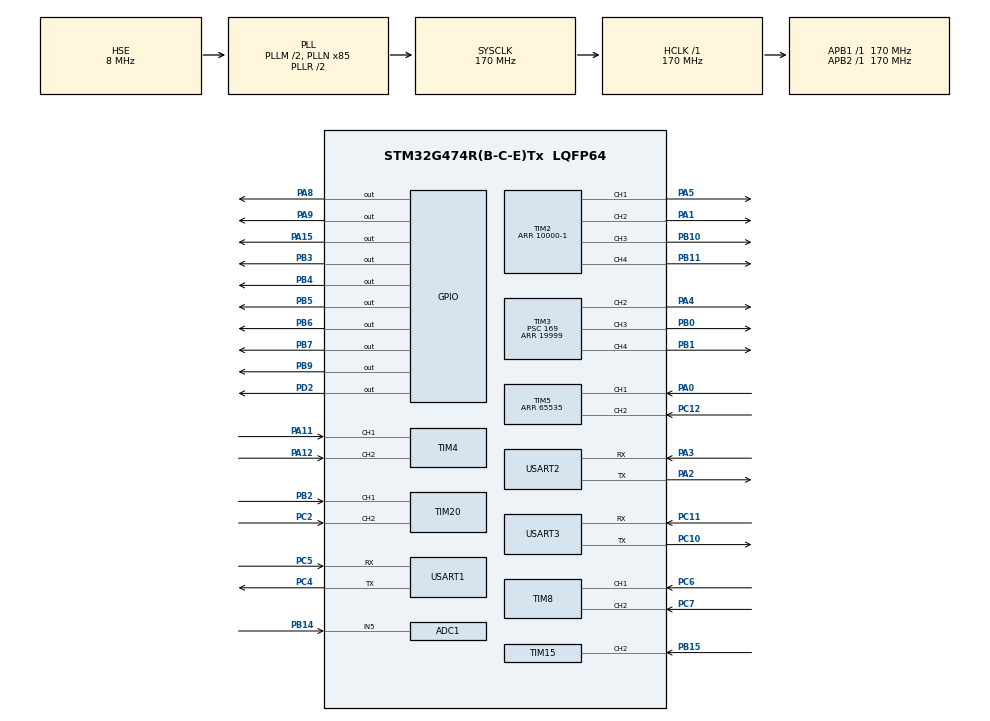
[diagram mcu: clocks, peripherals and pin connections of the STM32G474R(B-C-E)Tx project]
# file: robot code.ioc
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ADC1.Channel-0\#ChannelRegularConversion=ADC_CHANNEL_5
ADC1.NbrOfConversionFlag=1
ADC1.OffsetNumber-0\#ChannelRegularConversion=ADC_OFFSET_NONE
ADC1.Rank-0\#ChannelRegularConversion=1
ADC1.SamplingTime-0\#ChannelRegularConversion=ADC_SAMPLETIME_2CYCLES_5
ADC1.master=1
Mcu.Family=STM32G4
Mcu.Name=STM32G474R(B-C-E)Tx
Mcu.Package=LQFP64
NVIC.ADC1_2_IRQn=true\:4\:0\:true\:false\:true\:true\:true\:true
NVIC.PriorityGroup=NVIC_PRIORITYGROUP_4
NVIC.TIM1_BRK_TIM15_IRQn=true\:0\:0\:false\:false\:true\:true\:true\:true
NVIC.TIM1_UP_TIM16_IRQn=true\:1\:0\:true\:false\:true\:true\:true\:true
NVIC.USART1_IRQn=true\:2\:0\:true\:false\:true\:true\:true\:true
NVIC.USART2_IRQn=true\:3\:0\:true\:false\:true\:true\:true\:true
NVIC.USART3_IRQn=true\:2\:0\:true\:false\:true\:true\:true\:true
PA0.Signal=S_TIM5_CH1
PA1.Signal=S_TIM2_CH2
PA11.Signal=S_TIM4_CH1
PA12.Signal=S_TIM4_CH2
PA13.Mode=Serial_Wire
PA13.Signal=SYS_JTMS-SWDIO
PA14.Mode=Serial_Wire
PA14.Signal=SYS_JTCK-SWCLK
PA15.Signal=GPIO_Output
PA2.Mode=Asynchronous
PA2.Signal=USART2_TX
PA3.Mode=Asynchronous
PA3.Signal=USART2_RX
PA4.Signal=S_TIM3_CH2
PA5.Signal=S_TIM2_CH1
PA8.GPIO_ModeDefaultOutputPP=GPIO_MODE_OUTPUT_OD
PA8.GPIO_PuPd=GPIO_NOPULL
PA8.PinState=GPIO_PIN_SET
PA8.Signal=GPIO_Output
PA9.GPIO_ModeDefaultOutputPP=GPIO_MODE_OUTPUT_OD
PA9.GPIO_PuPd=GPIO_NOPULL
PA9.PinState=GPIO_PIN_SET
PA9.Signal=GPIO_Output
PB0.Signal=S_TIM3_CH3
PB1.Signal=S_TIM3_CH4
PB10.Signal=S_TIM2_CH3
PB11.Signal=S_TIM2_CH4
PB14.Mode=IN5-Single-Ended
PB14.Signal=ADC1_IN5
PB15.Signal=S_TIM15_CH2
PB2.Signal=S_TIM20_CH1
PB3.Signal=GPIO_Output
PB4.Signal=GPIO_Output
PB5.Signal=GPIO_Output
PB6.Signal=GPIO_Output
PB7.Signal=GPIO_Output
PB9.Signal=GPIO_Output
PC10.Mode=Asynchronous
PC10.Signal=USART3_TX
PC11.Mode=Asynchronous
PC11.Signal=USART3_RX
PC12.Signal=S_TIM5_CH2
PC2.Signal=S_TIM20_CH2
PC4.Mode=Asynchronous
PC4.Signal=USART1_TX
PC5.Mode=Asynchronous
PC5.Signal=USART1_RX
PC6.Signal=S_TIM8_CH1
PC7.Signal=S_TIM8_CH2
PD2.Signal=GPIO_Output
PF0-OSC_IN.Mode=HSE-External-Oscillator
PF0-OSC_IN.Signal=RCC_OSC_IN
PF1-OSC_OUT.Mode=HSE-External-Oscillator
PF1-OSC_OUT.Signal=RCC_OSC_OUT
ProjectManager.HeapSize=0x200
ProjectManager.StackSize=0x400
ProjectManager.TargetToolchain=MDK-ARM V5.32
RCC.ADC12Freq_Value=170000000
RCC.ADC345Freq_Value=170000000
RCC.AHBFreq_Value=170000000
RCC.APB1Freq_Value=170000000
RCC.APB1TimFreq_Value=170000000
RCC.APB2Freq_Value=170000000
RCC.APB2TimFreq_Value=170000000
RCC.CortexFreq_Value=170000000
RCC.EXTERNAL_CLOCK_VALUE=12288000
RCC.HCLKFreq_Value=170000000
RCC.HSE_VALUE=8000000
RCC.HSI48_VALUE=48000000
RCC.HSI_VALUE=16000000
RCC.LSE_VALUE=32768
RCC.PLLM=RCC_PLLM_DIV2
RCC.PLLN=85
RCC.PLLSourceVirtual=RCC_PLLSOURCE_HSE
RCC.SYSCLKFreq_VALUE=170000000
RCC.SYSCLKSource=RCC_SYSCLKSOURCE_PLLCLK
RCC.USBFreq_Value=170000000
RCC.VCOOutputFreq_Value=340000000
SH.S_TIM15_CH2.0=TIM15_CH2,Input_Capture2_from_TI2
SH.S_TIM20_CH1.0=TIM20_CH1,Encoder_Interface
SH.S_TIM20_CH2.0=TIM20_CH2,Encoder_Interface
SH.S_TIM2_CH1.0=TIM2_CH1,PWM Generation1 CH1
SH.S_TIM2_CH2.0=TIM2_CH2,PWM Generation2 CH2
SH.S_TIM2_CH3.0=TIM2_CH3,PWM Generation3 CH3
SH.S_TIM2_CH4.0=TIM2_CH4,PWM Generation4 CH4
SH.S_TIM3_CH2.0=TIM3_CH2,PWM Generation2 CH2
SH.S_TIM3_CH3.0=TIM3_CH3,PWM Generation3 CH3
SH.S_TIM3_CH4.0=TIM3_CH4,PWM Generation4 CH4
SH.S_TIM4_CH1.0=TIM4_CH1,Encoder_Interface
SH.S_TIM4_CH2.0=TIM4_CH2,Encoder_Interface
SH.S_TIM5_CH1.0=TIM5_CH1,Encoder_Interface
SH.S_TIM5_CH2.0=TIM5_CH2,Encoder_Interface
SH.S_TIM8_CH1.0=TIM8_CH1,Encoder_Interface
SH.S_TIM8_CH2.0=TIM8_CH2,Encoder_Interface
TIM1.PeriodNoDither=9999
TIM1.Prescaler=169
TIM15.AutoReloadPreload=TIM_AUTORELOAD_PRELOAD_ENABLE
TIM15.Channel-Input_Capture2_from_TI2=TIM_CHANNEL_2
TIM15.ICPolarity_CH2=TIM_INPUTCHANNELPOLARITY_FALLING
TIM15.Prescaler=169
TIM2.AutoReloadPreload=TIM_AUTORELOAD_PRELOAD_ENABLE
TIM2.Channel-PWM\ Generation1\ CH1=TIM_CHANNEL_1
TIM2.Channel-PWM\ Generation2\ CH2=TIM_CHANNEL_2
TIM2.Channel-PWM\ Generation3\ CH3=TIM_CHANNEL_3
TIM2.Channel-PWM\ Generation4\ CH4=TIM_CHANNEL_4
TIM2.PeriodNoDither=10000-1
TIM20.AutoReloadPreload=TIM_AUTORELOAD_PRELOAD_ENABLE
TIM20.EncoderMode=TIM_ENCODERMODE_TI12
TIM3.AutoReloadPreload=TIM_AUTORELOAD_PRELOAD_ENABLE
TIM3.Channel-PWM\ Generation2\ CH2=TIM_CHANNEL_2
TIM3.Channel-PWM\ Generation3\ CH3=TIM_CHANNEL_3
TIM3.Channel-PWM\ Generation4\ CH4=TIM_CHANNEL_4
TIM3.PeriodNoDither=19999
TIM3.Prescaler=169
TIM4.AutoReloadPreload=TIM_AUTORELOAD_PRELOAD_ENABLE
TIM4.EncoderMode=TIM_ENCODERMODE_TI12
TIM5.AutoReloadPreload=TIM_AUTORELOAD_PRELOAD_ENABLE
TIM5.EncoderMode=TIM_ENCODERMODE_TI12
TIM5.PeriodNoDither=65535
TIM8.AutoReloadPreload=TIM_AUTORELOAD_PRELOAD_ENABLE
TIM8.EncoderMode=TIM_ENCODERMODE_TI12
USART1.VirtualMode-Asynchronous=VM_ASYNC
USART2.VirtualMode-Asynchronous=VM_ASYNC
USART3.VirtualMode-Asynchronous=VM_ASYNC
VP_SYS_VS_DBSignals.Mode=DisableDeadBatterySignals
VP_TIM15_VS_ClockSourceINT.Mode=Internal
VP_TIM1_VS_ClockSourceINT.Mode=Internal
VP_TIM2_VS_ClockSourceINT.Mode=Internal
VP_TIM3_VS_ClockSourceINT.Mode=Internal
board=custom

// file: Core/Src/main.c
/* USER CODE BEGIN Header */
/**
 ******************************************************************************
 * @file           : main.c
 * @brief          : Main program body
 ******************************************************************************
 * @attention
 *
 * Copyright (c) 2026 STMicroelectronics.
 * All rights reserved.
 *
 * This software is licensed under terms that can be found in the LICENSE file
 * in the root directory of this software component.
 * If no LICENSE file comes with this software, it is provided AS-IS.
 *
 ******************************************************************************
 */
/* USER CODE END Header */
#include "main.h"
#include "adc.h"
#include "gpio.h"
#include "tim.h"
#include "usart.h"

/* USER CODE BEGIN Includes */
#include "Encoder.h"
#include "Function.h"
#include "Imu.h"
#include "Motor.h"
#include "OLED.h"
#include "PID.h"
#include "Photoresistor.h"
#include "Serial.h"
#include "Servo.h"
#include "ir_nec.h"
#include "track.h"
/* USER CODE END Includes */

/* USER CODE BEGIN PTD */
float encoder_value;

/* USER CODE END PTD */

void SystemClock_Config(void);

int main(void)
{

    /* MCU Configuration--------------------------------------------------------*/

    /* Reset of all peripherals, Initializes the Flash interface and the Systick. */
    HAL_Init();

    /* Configure the system clock */
    SystemClock_Config();

    /* Initialize all configured peripherals */
    MX_GPIO_Init();
    MX_TIM2_Init();
    MX_TIM4_Init();
    MX_TIM5_Init();
    MX_TIM8_Init();
    MX_TIM20_Init();
    MX_USART2_UART_Init();
    MX_USART1_UART_Init();
    MX_TIM3_Init();
    MX_TIM1_Init();
    MX_TIM15_Init();
    MX_ADC1_Init();
    MX_USART3_UART_Init();
    /* USER CODE BEGIN 2 */
    OLED_Init();
    Motor_Init();
    Encoder_Init();
    Servo_Init();
    IR_NEC_Init();
    HAL_TIM_Base_Start_IT(&htim1); // 启动PID定时器(100Hz)，中断里调用PID_Cala
    Servo_SetAngle(1, 87);
    Servo_SetAngle(2, 80);
    /*
     * 环境光只在上电初始化阶段采样一次，并锁存在
     * Photoresistor.c 的 EnvnironmentLight 全局变量中。
     */
    Photoresistor_Init();

    /*
     * 10 轴 IMU：USART3（PC10=TX / PC11=RX），115200 8N1。
     * Imu_Init 内部会：
     *   1. 等模块上电启动（约 1.2s）
     *   2. 等到第一帧有效角度
     *   3. 把"当前车头方向"置为 0°
     *   4. 开启航向保持（之后主循环里一直维持 0°）
     * Imu_SelfTest 在 IMU_TEST_MODE=0 时立即返回。
     */
    Imu_Init();
    Imu_SelfTest();

    /* USER CODE END 2 */

    /* Infinite loop */
    /* USER CODE BEGIN WHILE */
    while (1)
    {
        Imu_Update();
        Imu_HoldStep();     /* 航向保持：上电方向 0°，之后一直定住 */
        Imu_DebugToOled();  /* IMU_DEBUG_OLED=0 时编译成空函数，不占时间 */
#if ((IMU_TEST_MODE != 0) || (IMU_LOOP_IMU_ONLY != 0))
        /* 排查/测试模式：不跑比赛流程，避免光敏误触发把主循环卡住 */
        HAL_Delay(5);
#else
        Photoresistor();
        IR_work();
#endif
        /* USER CODE END WHILE */

    }
}

void SystemClock_Config(void)
{
    RCC_OscInitTypeDef RCC_OscInitStruct = {0};
    RCC_ClkInitTypeDef RCC_ClkInitStruct = {0};

    /** Configure the main internal regulator output voltage
     */
    HAL_PWREx_ControlVoltageScaling(PWR_REGULATOR_VOLTAGE_SCALE1_BOOST);

    /** Initializes the RCC Oscillators according to the specified parameters
     * in the RCC_OscInitTypeDef structure.
     */
    RCC_OscInitStruct.OscillatorType = RCC_OSCILLATORTYPE_HSE;
    RCC_OscInitStruct.HSEState = RCC_HSE_ON;
    RCC_OscInitStruct.PLL.PLLState = RCC_PLL_ON;
    RCC_OscInitStruct.PLL.PLLSource = RCC_PLLSOURCE_HSE;
    RCC_OscInitStruct.PLL.PLLM = RCC_PLLM_DIV2;
    RCC_OscInitStruct.PLL.PLLN = 85;
    RCC_OscInitStruct.PLL.PLLP = RCC_PLLP_DIV2;
    RCC_OscInitStruct.PLL.PLLQ = RCC_PLLQ_DIV2;
    RCC_OscInitStruct.PLL.PLLR = RCC_PLLR_DIV2;
    if (HAL_RCC_OscConfig(&RCC_OscInitStruct) != HAL_OK)
    {
        Error_Handler();
    }

    /** Initializes the CPU, AHB and APB buses clocks
     */
    RCC_ClkInitStruct.ClockType = RCC_CLOCKTYPE_HCLK | RCC_CLOCKTYPE_SYSCLK | RCC_CLOCKTYPE_PCLK1 | RCC_CLOCKTYPE_PCLK2;
    RCC_ClkInitStruct.SYSCLKSource = RCC_SYSCLKSOURCE_PLLCLK;
    RCC_ClkInitStruct.AHBCLKDivider = RCC_SYSCLK_DIV1;
    RCC_ClkInitStruct.APB1CLKDivider = RCC_HCLK_DIV1;
    RCC_ClkInitStruct.APB2CLKDivider = RCC_HCLK_DIV1;

    if (HAL_RCC_ClockConfig(&RCC_ClkInitStruct, FLASH_LATENCY_4) != HAL_OK)
    {
        Error_Handler();
    }
}

/* USER CODE BEGIN 4 */

void HAL_UART_RxCpltCallback(UART_HandleTypeDef *huart)
{
    if (huart == &huart2)
    {
        Track_RxCpltCallback();
    }

    if (huart == &huart1)
    {
        Visual_RxCpltCallback();
        // 处理接收到的数据
    }

    /* USART3 接 10 轴 IMU，按 Instance 分发，避免依赖句柄名 */
    if (huart->Instance == USART3)
    {
        Imu_RxCpltCallback();
    }
}

void HAL_UART_ErrorCallback(UART_HandleTypeDef *huart)
{
    if (huart == &huart2)
    {
        Track_ErrorCallback();
    }

    if (huart == &huart1)
    {
        Visual_RxErrorCallback();
        // 处理错误
    }

    if (huart->Instance == USART3)
    {
        Imu_RxErrorCallback();
    }
}

/* USER CODE END 4 */

void Error_Handler(void)
{
    __disable_irq();
    while (1)
    {
    }
}
